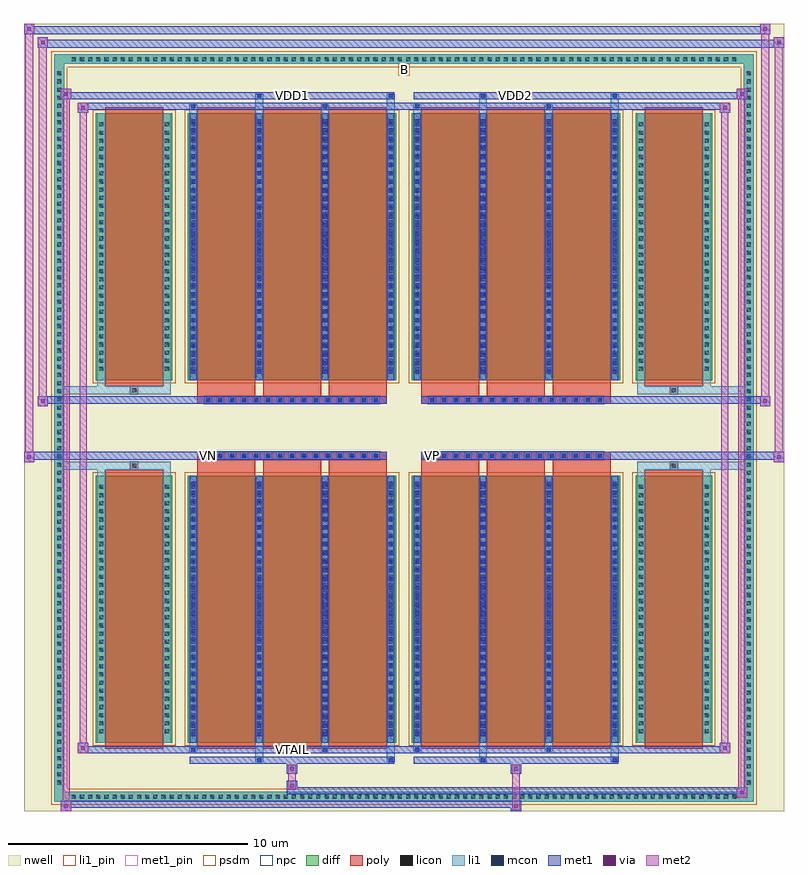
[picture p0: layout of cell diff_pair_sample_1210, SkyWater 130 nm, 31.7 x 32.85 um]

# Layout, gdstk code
import gdstk
lib = gdstk.Library(unit=1e-6, precision=5e-09)
def R(c, l, rs):  # rectangles x0, y0, x1, y1
    for r in rs: c.add(gdstk.rectangle(r[:2], r[2:], *l))
def A(c, l, x, y, w, h, nx, ny, dx, dy):  # array of equal rectangles
    R(c, l, [(x+i*dx, y+j*dy, x+i*dx+w, y+j*dy+h) for i in range(nx) for j in range(ny)])
def P(c, l, *ps):  # polygons
    for p in ps: c.add(gdstk.Polygon(p, *l))
nwell = (64, 20)
diff = (65, 20)
poly = (66, 20)
licon = (66, 44)
li1_pin = (67, 16)
li1 = (67, 20)
mcon = (67, 44)
met1_pin = (68, 16)
met1 = (68, 20)
via = (68, 44)
met2 = (69, 20)
psdm = (94, 20)
npc = (95, 20)

diff_pair_sample_1210 = lib.new_cell('diff_pair_sample_1210')
R(diff_pair_sample_1210, nwell, [(-15.85,-15.99,15.85,16.86), (-13.17,-14.18,-0.01,-0.8), (0.01,-14.18,13.17,-0.8), (-13.17,0.8,-0.01,14.18), (0.01,0.8,13.17,14.18)])
A(diff_pair_sample_1210, diff, -13.975, -15.59, 0.41, 0.41, 82, 2, 0.34, 30.77)
A(diff_pair_sample_1210, diff, -14.58, -14.995, 0.41, 0.41, 1, 88, 0, 0.34)
A(diff_pair_sample_1210, diff, 14.17, -14.995, 0.41, 0.41, 1, 88, 0, 0.34)
R(diff_pair_sample_1210, diff, [(-13.975,-15.59,13.975,-15.18), (-14.58,-14.995,-14.17,14.995), (14.17,-14.995,14.58,14.995), (-12.86,-13.135,-9.66,-1.985), (-9.02,-13.135,-0.32,-1.985), (0.32,-13.135,9.02,-1.985), (9.66,-13.135,12.86,-1.985), (-12.86,1.985,-9.66,13.135), (-9.02,1.985,-0.32,13.135), (0.32,1.985,9.02,13.135), (9.66,1.985,12.86,13.135), (-13.975,15.18,13.975,15.59)])
P(diff_pair_sample_1210, diff, [(14.58,15.59),(-14.58,15.59),(-14.58,-15.18),(-14.17,-15.18),(-14.17,15.18),(14.17,15.18),(14.17,-15.18),(-14.17,-15.18),(-14.58,-15.18),(-14.58,-15.59),(14.58,-15.59)])
A(diff_pair_sample_1210, poly, -8.63, -13.385, 2.42, 11.65, 3, 2, 2.75, 15.12)
A(diff_pair_sample_1210, poly, 0.71, -13.385, 2.42, 11.65, 3, 2, 2.75, 15.12)
A(diff_pair_sample_1210, poly, -8.63, -1.735, 2.42, 0.405, 3, 2, 2.75, 3.065)
A(diff_pair_sample_1210, poly, 0.71, -1.735, 2.42, 0.405, 3, 2, 2.75, 3.065)
A(diff_pair_sample_1210, poly, -8.335, -1.33, 0.33, 0.33, 15, 2, 0.5, 2.33)
A(diff_pair_sample_1210, poly, 1.005, -1.33, 0.33, 0.33, 15, 2, 0.5, 2.33)
R(diff_pair_sample_1210, poly, [(-12.47,-13.385,-10.05,-1.735), (10.05,-13.385,12.47,-1.735), (-11.425,-1.735,-11.095,-1.405), (-11.425,-1.735,-11.095,-1.405), (11.095,-1.735,11.425,-1.405), (11.095,-1.735,11.425,-1.405), (-8.63,-1.33,-0.71,-1), (0.71,-1.33,8.63,-1), (-8.63,1,-0.71,1.33), (0.71,1,8.63,1.33), (-11.425,1.405,-11.095,1.735), (-11.425,1.405,-11.095,1.735), (11.095,1.405,11.425,1.735), (11.095,1.405,11.425,1.735), (-12.47,1.735,-10.05,13.385), (10.05,1.735,12.47,13.385)])
A(diff_pair_sample_1210, licon, -13.855, -15.47, 0.17, 0.17, 82, 2, 0.34, 30.77)
A(diff_pair_sample_1210, licon, -14.46, -14.875, 0.17, 0.17, 1, 88, 0, 0.34)
A(diff_pair_sample_1210, licon, 14.29, -14.875, 0.17, 0.17, 1, 88, 0, 0.34)
A(diff_pair_sample_1210, licon, -12.72, -12.745, 0.17, 0.17, 1, 31, 0, 0.34)
A(diff_pair_sample_1210, licon, -9.97, -12.745, 0.17, 0.17, 1, 31, 0, 0.34)
A(diff_pair_sample_1210, licon, -8.88, -12.745, 0.17, 0.17, 4, 31, 2.75, 0.34)
A(diff_pair_sample_1210, licon, 0.46, -12.745, 0.17, 0.17, 4, 31, 2.75, 0.34)
A(diff_pair_sample_1210, licon, 9.8, -12.745, 0.17, 0.17, 1, 31, 0, 0.34)
A(diff_pair_sample_1210, licon, 12.55, -12.745, 0.17, 0.17, 1, 31, 0, 0.34)
A(diff_pair_sample_1210, licon, -8.255, -1.25, 0.17, 0.17, 15, 2, 0.5, 2.33)
A(diff_pair_sample_1210, licon, 1.085, -1.25, 0.17, 0.17, 15, 2, 0.5, 2.33)
A(diff_pair_sample_1210, licon, -12.72, 2.375, 0.17, 0.17, 1, 31, 0, 0.34)
A(diff_pair_sample_1210, licon, -9.97, 2.375, 0.17, 0.17, 1, 31, 0, 0.34)
A(diff_pair_sample_1210, licon, -8.88, 2.375, 0.17, 0.17, 4, 31, 2.75, 0.34)
A(diff_pair_sample_1210, licon, 0.46, 2.375, 0.17, 0.17, 4, 31, 2.75, 0.34)
A(diff_pair_sample_1210, licon, 9.8, 2.375, 0.17, 0.17, 1, 31, 0, 0.34)
A(diff_pair_sample_1210, licon, 12.55, 2.375, 0.17, 0.17, 1, 31, 0, 0.34)
R(diff_pair_sample_1210, licon, [(-11.345,-1.655,-11.175,-1.485), (11.175,-1.655,11.345,-1.485), (-11.345,1.485,-11.175,1.655), (11.175,1.485,11.345,1.655)])
R(diff_pair_sample_1210, li1_pin, [(-0.25,14.68,0.25,15.18)])
A(diff_pair_sample_1210, li1, -13.935, -15.55, 0.33, 0.33, 82, 2, 0.34, 30.77)
A(diff_pair_sample_1210, li1, -14.54, -14.955, 0.33, 0.33, 1, 88, 0, 0.34)
A(diff_pair_sample_1210, li1, 14.21, -14.955, 0.33, 0.33, 1, 88, 0, 0.34)
A(diff_pair_sample_1210, li1, -8.96, -13.135, 0.33, 11.15, 4, 2, 2.75, 15.12)
A(diff_pair_sample_1210, li1, 0.38, -13.135, 0.33, 11.15, 4, 2, 2.75, 15.12)
A(diff_pair_sample_1210, li1, -8.88, -12.865, 0.17, 0.17, 4, 30, 2.75, 0.36)
A(diff_pair_sample_1210, li1, -8.88, -12.865, 0.17, 10.61, 4, 2, 2.75, 15.12)
A(diff_pair_sample_1210, li1, 0.46, -12.865, 0.17, 0.17, 4, 30, 2.75, 0.36)
A(diff_pair_sample_1210, li1, 0.46, -12.865, 0.17, 10.61, 4, 2, 2.75, 15.12)
A(diff_pair_sample_1210, li1, -12.8, -12.825, 0.33, 0.33, 1, 31, 0, 0.34)
A(diff_pair_sample_1210, li1, -10.05, -12.825, 0.33, 0.33, 1, 31, 0, 0.34)
A(diff_pair_sample_1210, li1, -8.96, -12.825, 0.33, 0.33, 4, 31, 2.75, 0.34)
A(diff_pair_sample_1210, li1, 0.38, -12.825, 0.33, 0.33, 4, 31, 2.75, 0.34)
A(diff_pair_sample_1210, li1, 9.72, -12.825, 0.33, 0.33, 1, 31, 0, 0.34)
A(diff_pair_sample_1210, li1, 12.47, -12.825, 0.33, 0.33, 1, 31, 0, 0.34)
A(diff_pair_sample_1210, li1, -8.335, -1.33, 0.33, 0.33, 15, 2, 0.5, 2.33)
A(diff_pair_sample_1210, li1, 1.005, -1.33, 0.33, 0.33, 15, 2, 0.5, 2.33)
A(diff_pair_sample_1210, li1, -8.88, 2.255, 0.17, 0.17, 4, 30, 2.75, 0.36)
A(diff_pair_sample_1210, li1, 0.46, 2.255, 0.17, 0.17, 4, 30, 2.75, 0.36)
A(diff_pair_sample_1210, li1, -12.8, 2.295, 0.33, 0.33, 1, 31, 0, 0.34)
A(diff_pair_sample_1210, li1, -10.05, 2.295, 0.33, 0.33, 1, 31, 0, 0.34)
A(diff_pair_sample_1210, li1, -8.96, 2.295, 0.33, 0.33, 4, 31, 2.75, 0.34)
A(diff_pair_sample_1210, li1, 0.38, 2.295, 0.33, 0.33, 4, 31, 2.75, 0.34)
A(diff_pair_sample_1210, li1, 9.72, 2.295, 0.33, 0.33, 1, 31, 0, 0.34)
A(diff_pair_sample_1210, li1, 12.47, 2.295, 0.33, 0.33, 1, 31, 0, 0.34)
R(diff_pair_sample_1210, li1, [(-14.58,-15.59,-14.17,-15.18), (-14.58,-15.59,-14.17,-15.18), (-14.17,-15.59,14.17,-15.18), (14.17,-15.59,14.58,-15.18), (14.17,-15.59,14.58,-15.18), (-14.58,-15.18,-14.17,15.18), (14.17,-15.18,14.58,15.18), (-6.21,-13.94,-5.88,-13.135), (-6.13,-13.94,-5.96,-13.77), (-0.71,-13.94,-0.38,-13.135), (-0.63,-13.94,-0.46,-13.77), (3.13,-13.94,3.46,-13.135), (3.21,-13.94,3.38,-13.77), (8.63,-13.94,8.96,-13.135), (8.71,-13.94,8.88,-13.77), (-8.96,-13.51,-8.63,-13.135), (-8.88,-13.51,-8.71,-13.34), (-3.46,-13.51,-3.13,-13.135), (-3.38,-13.51,-3.21,-13.34), (0.38,-13.51,0.71,-13.135), (0.46,-13.51,0.63,-13.34), (5.88,-13.51,6.21,-13.135), (5.96,-13.51,6.13,-13.34), (-12.8,-13.135,-12.47,-1.985), (-10.05,-13.135,-9.72,-1.985), (9.72,-13.135,10.05,-1.985), (12.47,-13.135,12.8,-1.985), (-12.8,-1.985,-12.47,-1.405), (-10.05,-1.985,-9.72,-1.405), (9.72,-1.985,10.05,-1.405), (12.47,-1.985,12.8,-1.405), (-14.58,-1.735,-11.425,-1.405), (-12.8,-1.735,-11.425,-1.405), (-11.425,-1.735,-11.095,-1.405), (-11.095,-1.735,-9.72,-1.405), (9.72,-1.735,11.095,-1.405), (11.095,-1.735,11.425,-1.405), (11.095,-1.735,14.58,-1.405), (11.425,-1.735,12.8,-1.405), (-14.58,1.405,-11.425,1.735), (-12.8,1.405,-11.425,1.735), (-12.8,1.405,-12.47,1.985), (-11.425,1.405,-11.095,1.735), (-11.095,1.405,-9.72,1.735), (-10.05,1.405,-9.72,1.985), (9.72,1.405,11.095,1.735), (9.72,1.405,10.05,1.985), (11.095,1.405,11.425,1.735), (11.095,1.405,14.58,1.735), (11.425,1.405,12.8,1.735), (12.47,1.405,12.8,1.985), (-12.8,1.985,-12.47,13.135), (-10.05,1.985,-9.72,13.135), (9.72,1.985,10.05,13.135), (12.47,1.985,12.8,13.135), (-8.96,13.135,-8.63,13.51), (-6.21,13.135,-5.88,13.94), (-3.46,13.135,-3.13,13.51), (-0.71,13.135,-0.38,13.94), (0.38,13.135,0.71,13.51), (3.13,13.135,3.46,13.94), (5.88,13.135,6.21,13.51), (8.63,13.135,8.96,13.94), (-8.88,13.34,-8.71,13.51), (-3.38,13.34,-3.21,13.51), (0.46,13.34,0.63,13.51), (5.96,13.34,6.13,13.51), (-6.13,13.77,-5.96,13.94), (-0.63,13.77,-0.46,13.94), (3.21,13.77,3.38,13.94), (8.71,13.77,8.88,13.94), (-14.58,15.18,-14.17,15.59), (-14.58,15.18,-14.17,15.59), (-14.17,15.18,14.17,15.59), (14.17,15.18,14.58,15.59), (14.17,15.18,14.58,15.59)])
A(diff_pair_sample_1210, mcon, -8.88, -12.865, 0.17, 0.17, 4, 30, 2.75, 0.36)
A(diff_pair_sample_1210, mcon, 0.46, -12.865, 0.17, 0.17, 4, 30, 2.75, 0.36)
A(diff_pair_sample_1210, mcon, -8.255, -1.25, 0.17, 0.17, 15, 2, 0.5, 2.33)
A(diff_pair_sample_1210, mcon, 1.085, -1.25, 0.17, 0.17, 15, 2, 0.5, 2.33)
A(diff_pair_sample_1210, mcon, -8.88, 2.255, 0.17, 0.17, 4, 30, 2.75, 0.36)
A(diff_pair_sample_1210, mcon, 0.46, 2.255, 0.17, 0.17, 4, 30, 2.75, 0.36)
R(diff_pair_sample_1210, mcon, [(-6.13,-13.94,-5.96,-13.77), (-0.63,-13.94,-0.46,-13.77), (3.21,-13.94,3.38,-13.77), (8.71,-13.94,8.88,-13.77), (-8.88,-13.51,-8.71,-13.34), (-3.38,-13.51,-3.21,-13.34), (0.46,-13.51,0.63,-13.34), (5.96,-13.51,6.13,-13.34), (-8.88,13.34,-8.71,13.51), (-3.38,13.34,-3.21,13.51), (0.46,13.34,0.63,13.51), (5.96,13.34,6.13,13.51), (-6.13,13.77,-5.96,13.94), (-0.63,13.77,-0.46,13.94), (3.21,13.77,3.38,13.94), (8.71,13.77,8.88,13.94)])
R(diff_pair_sample_1210, met1_pin, [(-4.805,-13.55,-4.535,-13.28), (-8.305,-1.29,-8.035,-1.02), (1.035,-1.29,1.305,-1.02), (-4.805,13.73,-4.535,14), (4.535,13.73,4.805,14)])
A(diff_pair_sample_1210, met1, -8.94, -13.135, 0.29, 11.15, 4, 2, 2.75, 15.12)
A(diff_pair_sample_1210, met1, 0.4, -13.135, 0.29, 11.15, 4, 2, 2.75, 15.12)
A(diff_pair_sample_1210, met1, -8.94, -12.925, 0.29, 0.29, 4, 30, 2.75, 0.36)
A(diff_pair_sample_1210, met1, 0.4, -12.925, 0.29, 0.29, 4, 30, 2.75, 0.36)
A(diff_pair_sample_1210, met1, -8.315, -1.31, 0.29, 0.29, 15, 2, 0.5, 2.33)
A(diff_pair_sample_1210, met1, 1.025, -1.31, 0.29, 0.29, 15, 2, 0.5, 2.33)
A(diff_pair_sample_1210, met1, -8.94, 2.195, 0.29, 0.29, 4, 30, 2.75, 0.36)
A(diff_pair_sample_1210, met1, 0.4, 2.195, 0.29, 0.29, 4, 30, 2.75, 0.36)
R(diff_pair_sample_1210, met1, [(-14.31,-15.99,-13.88,-15.56), (4.455,-15.99,4.885,-15.56), (-14.31,-15.85,4.885,-15.56), (13.88,-15.42,14.31,-14.99), (-4.885,-15.28,14.31,-14.99), (-4.885,-15.14,-4.455,-14.71), (-4.885,-14.43,-4.455,-14), (4.455,-14.43,4.885,-14), (-8.94,-14,-0.4,-13.71), (-6.19,-14,-5.9,-13.71), (-0.69,-14,-0.4,-13.71), (0.4,-14,8.94,-13.71), (3.15,-14,3.44,-13.71), (8.65,-14,8.94,-13.71), (-13.6,-13.57,-13.17,-13.14), (-13.6,-13.57,-8.94,-13.28), (-8.94,-13.57,-8.65,-13.28), (-8.94,-13.57,-0.4,-13.28), (-3.44,-13.57,-3.15,-13.28), (-0.4,-13.57,0.4,-13.28), (0.4,-13.57,0.69,-13.28), (0.4,-13.57,8.94,-13.28), (5.9,-13.57,6.19,-13.28), (8.94,-13.57,13.6,-13.28), (13.17,-13.57,13.6,-13.14), (-15.85,-1.43,-15.42,-1), (15.42,-1.43,15.85,-1), (-15.85,-1.33,-0.71,-1), (-8.63,-1.33,-0.71,-1), (0.71,-1.33,8.63,-1), (0.71,-1.33,15.85,-1), (-15.28,0.9,-14.85,1.33), (14.85,0.9,15.28,1.33), (-15.28,1,-8.63,1.33), (-8.63,1,-0.71,1.33), (0.71,1,8.63,1.33), (8.63,1,15.28,1.33), (-13.6,13.14,-13.17,13.57), (13.17,13.14,13.6,13.57), (-13.6,13.28,-8.94,13.57), (-8.94,13.28,-8.65,13.57), (-8.94,13.28,-0.4,13.57), (-3.44,13.28,-3.15,13.57), (-0.4,13.28,0.4,13.57), (0.4,13.28,0.69,13.57), (0.4,13.28,8.94,13.57), (5.9,13.28,6.19,13.57), (8.94,13.28,13.6,13.57), (-14.31,13.71,-13.88,14.14), (-14.31,13.71,-8.94,14), (-8.94,13.71,-0.4,14), (-6.19,13.71,-5.9,14), (-0.69,13.71,-0.4,14), (0.4,13.71,8.94,14), (3.15,13.71,3.44,14), (8.65,13.71,8.94,14), (8.94,13.71,14.31,14), (13.88,13.71,14.31,14.14), (-15.28,15.86,-14.85,16.29), (-15.28,15.86,-13.17,16.19), (-13.17,15.86,13.17,16.19), (13.17,15.86,15.85,16.19), (15.42,15.86,15.85,16.29), (-15.85,16.43,-15.42,16.86), (-15.85,16.43,-13.17,16.76), (-13.17,16.43,13.17,16.76), (13.17,16.43,15.28,16.76), (14.85,16.43,15.28,16.86)])
R(diff_pair_sample_1210, via, [(-14.17,-15.85,-14.02,-15.7), (4.595,-15.85,4.745,-15.7), (14.02,-15.28,14.17,-15.13), (-4.745,-15,-4.595,-14.85), (-4.745,-14.29,-4.595,-14.14), (4.595,-14.29,4.745,-14.14), (-13.46,-13.43,-13.31,-13.28), (13.31,-13.43,13.46,-13.28), (-15.71,-1.29,-15.56,-1.14), (15.56,-1.29,15.71,-1.14), (-15.14,1.04,-14.99,1.19), (14.99,1.04,15.14,1.19), (-13.46,13.28,-13.31,13.43), (13.31,13.28,13.46,13.43), (-14.17,13.85,-14.02,14), (14.02,13.85,14.17,14), (-15.14,16,-14.99,16.15), (15.56,16,15.71,16.15), (-15.71,16.57,-15.56,16.72), (14.99,16.57,15.14,16.72)])
R(diff_pair_sample_1210, met2, [(-14.31,-15.99,-13.88,-15.56), (-14.24,-15.99,-13.95,14.14), (-13.95,-15.99,-13.88,-15.56), (-14.26,-15.94,-13.93,-15.61), (4.505,-15.94,4.835,-15.61), (4.505,-15.61,4.835,-14.38), (13.88,-15.42,14.31,-14.99), (13.95,-15.42,14.24,14.14), (14.24,-15.42,14.31,-14.99), (13.93,-15.37,14.26,-15.04), (-4.835,-15.09,-4.505,-14.76), (-4.835,-14.76,-4.505,-14.38), (-4.835,-14.38,-4.505,-14.05), (4.505,-14.38,4.835,-14.05), (-13.6,-13.57,-13.17,-13.14), (-13.53,-13.57,-13.24,13.57), (-13.24,-13.57,-13.17,-13.14), (13.17,-13.57,13.6,-13.14), (13.24,-13.57,13.53,13.57), (13.53,-13.57,13.6,-13.14), (-13.55,-13.52,-13.22,-13.19), (13.22,-13.52,13.55,-13.19), (-15.85,-1.43,-15.42,-1), (-15.8,-1.43,-15.47,16.86), (-15.47,-1.43,-15.42,-1), (15.42,-1.43,15.85,-1), (15.47,-1.43,15.8,16.29), (15.8,-1.43,15.85,-1), (-15.8,-1.38,-15.47,-1.05), (15.47,-1.38,15.8,-1.05), (-15.28,0.9,-14.85,1.33), (-15.23,0.9,-14.9,16.29), (-14.9,0.9,-14.85,1.33), (14.85,0.9,15.28,1.33), (14.9,0.9,15.23,16.86), (15.23,0.9,15.28,1.33), (-15.23,0.95,-14.9,1.28), (14.9,0.95,15.23,1.28), (-13.6,13.14,-13.17,13.57), (-13.24,13.14,-13.17,13.57), (13.17,13.14,13.6,13.57), (13.53,13.14,13.6,13.57), (-13.55,13.19,-13.22,13.52), (13.22,13.19,13.55,13.52), (-14.31,13.71,-13.88,14.14), (-13.95,13.71,-13.88,14.14), (13.88,13.71,14.31,14.14), (14.24,13.71,14.31,14.14), (-14.26,13.76,-13.93,14.09), (13.93,13.76,14.26,14.09), (-15.28,15.86,-14.85,16.29), (-14.9,15.86,-14.85,16.29), (15.42,15.86,15.85,16.29), (15.8,15.86,15.85,16.29), (-15.23,15.91,-14.9,16.24), (15.47,15.91,15.8,16.24), (-15.85,16.43,-15.42,16.86), (-15.47,16.43,-15.42,16.86), (14.85,16.43,15.28,16.86), (15.23,16.43,15.28,16.86), (-15.8,16.48,-15.47,16.81), (14.9,16.48,15.23,16.81)])
R(diff_pair_sample_1210, psdm, [(-12.99,-13.265,-9.53,-1.855), (-9.15,-13.265,-0.19,-1.855), (0.19,-13.265,9.15,-1.855), (9.53,-13.265,12.99,-1.855), (-12.99,1.855,-9.53,13.265), (-9.15,1.855,-0.19,13.265), (0.19,1.855,9.15,13.265), (9.53,1.855,12.99,13.265)])
P(diff_pair_sample_1210, psdm, [(14.71,15.72),(-14.71,15.72),(-14.71,-15.05),(-14.04,-15.05),(-14.04,15.05),(14.04,15.05),(14.04,-15.05),(-14.04,-15.05),(-14.71,-15.05),(-14.71,-15.72),(14.71,-15.72)])
A(diff_pair_sample_1210, npc, -8.355, -1.35, 0.37, 0.37, 15, 2, 0.5, 2.33)
A(diff_pair_sample_1210, npc, 0.985, -1.35, 0.37, 0.37, 15, 2, 0.5, 2.33)
R(diff_pair_sample_1210, npc, [(-11.445,-1.755,-11.075,-1.385), (11.075,-1.755,11.445,-1.385), (-8.355,-1.35,-7.485,-0.98), (-8.355,-1.35,-7.485,-0.98), (-7.855,-1.35,-6.985,-0.98), (-7.855,-1.35,-6.985,-0.98), (-7.355,-1.35,-6.485,-0.98), (-7.355,-1.35,-6.485,-0.98), (-6.855,-1.35,-5.985,-0.98), (-6.855,-1.35,-5.985,-0.98), (-6.355,-1.35,-5.485,-0.98), (-6.355,-1.35,-5.485,-0.98), (-5.855,-1.35,-4.985,-0.98), (-5.855,-1.35,-4.985,-0.98), (-5.355,-1.35,-4.485,-0.98), (-5.355,-1.35,-4.485,-0.98), (-4.855,-1.35,-3.985,-0.98), (-4.855,-1.35,-3.985,-0.98), (-4.355,-1.35,-3.485,-0.98), (-4.355,-1.35,-3.485,-0.98), (-3.855,-1.35,-2.985,-0.98), (-3.855,-1.35,-2.985,-0.98), (-3.355,-1.35,-2.485,-0.98), (-3.355,-1.35,-2.485,-0.98), (-2.855,-1.35,-1.985,-0.98), (-2.855,-1.35,-1.985,-0.98), (-2.355,-1.35,-1.485,-0.98), (-2.355,-1.35,-1.485,-0.98), (-1.855,-1.35,-0.985,-0.98), (-1.855,-1.35,-0.985,-0.98), (0.985,-1.35,1.855,-0.98), (0.985,-1.35,1.855,-0.98), (1.485,-1.35,2.355,-0.98), (1.485,-1.35,2.355,-0.98), (1.985,-1.35,2.855,-0.98), (1.985,-1.35,2.855,-0.98), (2.485,-1.35,3.355,-0.98), (2.485,-1.35,3.355,-0.98), (2.985,-1.35,3.855,-0.98), (2.985,-1.35,3.855,-0.98), (3.485,-1.35,4.355,-0.98), (3.485,-1.35,4.355,-0.98), (3.985,-1.35,4.855,-0.98), (3.985,-1.35,4.855,-0.98), (4.485,-1.35,5.355,-0.98), (4.485,-1.35,5.355,-0.98), (4.985,-1.35,5.855,-0.98), (4.985,-1.35,5.855,-0.98), (5.485,-1.35,6.355,-0.98), (5.485,-1.35,6.355,-0.98), (5.985,-1.35,6.855,-0.98), (5.985,-1.35,6.855,-0.98), (6.485,-1.35,7.355,-0.98), (6.485,-1.35,7.355,-0.98), (6.985,-1.35,7.855,-0.98), (6.985,-1.35,7.855,-0.98), (7.485,-1.35,8.355,-0.98), (7.485,-1.35,8.355,-0.98), (-8.355,0.98,-7.485,1.35), (-8.355,0.98,-7.485,1.35), (-7.855,0.98,-6.985,1.35), (-7.855,0.98,-6.985,1.35), (-7.355,0.98,-6.485,1.35), (-7.355,0.98,-6.485,1.35), (-6.855,0.98,-5.985,1.35), (-6.855,0.98,-5.985,1.35), (-6.355,0.98,-5.485,1.35), (-6.355,0.98,-5.485,1.35), (-5.855,0.98,-4.985,1.35), (-5.855,0.98,-4.985,1.35), (-5.355,0.98,-4.485,1.35), (-5.355,0.98,-4.485,1.35), (-4.855,0.98,-3.985,1.35), (-4.855,0.98,-3.985,1.35), (-4.355,0.98,-3.485,1.35), (-4.355,0.98,-3.485,1.35), (-3.855,0.98,-2.985,1.35), (-3.855,0.98,-2.985,1.35), (-3.355,0.98,-2.485,1.35), (-3.355,0.98,-2.485,1.35), (-2.855,0.98,-1.985,1.35), (-2.855,0.98,-1.985,1.35), (-2.355,0.98,-1.485,1.35), (-2.355,0.98,-1.485,1.35), (-1.855,0.98,-0.985,1.35), (-1.855,0.98,-0.985,1.35), (0.985,0.98,1.855,1.35), (0.985,0.98,1.855,1.35), (1.485,0.98,2.355,1.35), (1.485,0.98,2.355,1.35), (1.985,0.98,2.855,1.35), (1.985,0.98,2.855,1.35), (2.485,0.98,3.355,1.35), (2.485,0.98,3.355,1.35), (2.985,0.98,3.855,1.35), (2.985,0.98,3.855,1.35), (3.485,0.98,4.355,1.35), (3.485,0.98,4.355,1.35), (3.985,0.98,4.855,1.35), (3.985,0.98,4.855,1.35), (4.485,0.98,5.355,1.35), (4.485,0.98,5.355,1.35), (4.985,0.98,5.855,1.35), (4.985,0.98,5.855,1.35), (5.485,0.98,6.355,1.35), (5.485,0.98,6.355,1.35), (5.985,0.98,6.855,1.35), (5.985,0.98,6.855,1.35), (6.485,0.98,7.355,1.35), (6.485,0.98,7.355,1.35), (6.985,0.98,7.855,1.35), (6.985,0.98,7.855,1.35), (7.485,0.98,8.355,1.35), (7.485,0.98,8.355,1.35), (-11.445,1.385,-11.075,1.755), (11.075,1.385,11.445,1.755)])
diff_pair_sample_1210.add(gdstk.Label('VTAIL', (-4.67,-13.415), layer=68, texttype=5))
diff_pair_sample_1210.add(gdstk.Label('VN', (-8.17,-1.155), layer=68, texttype=5))
diff_pair_sample_1210.add(gdstk.Label('VP', (1.17,-1.155), layer=68, texttype=5))
diff_pair_sample_1210.add(gdstk.Label('B', (0,14.93), layer=67, texttype=5))
diff_pair_sample_1210.add(gdstk.Label('VDD2', (4.67,13.865), layer=68, texttype=5))
diff_pair_sample_1210.add(gdstk.Label('VDD1', (-4.67,13.865), layer=68, texttype=5))

lib.write_gds('diff_pair_sample_1210.gds')
